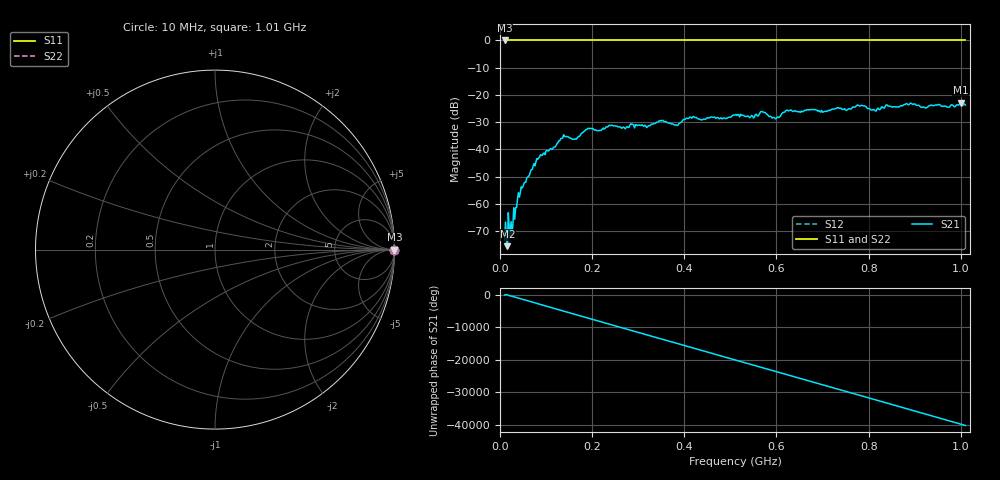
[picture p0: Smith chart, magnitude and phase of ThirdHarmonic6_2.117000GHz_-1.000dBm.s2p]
! 8/17/2025 1:18:52 AM
! C:\ANRITSUVNA\TEMP\TEMP.S2P
! CHANNEL.1
! TR.MEASUREMENT
! RAW.DATA
! RF.CORRECTION.OFF
! AVERAGING.OFF
! IF.BANDWIDTH: 5KHZ
! SWEEPTYPE:  FREQ.SWEEP(Linear)
! Reference Plane Port Info
! PORT:  PORT1  PORT2
! DISTANCE:  0  m  0  m
! TIME:  0  s  0  s
! PHASE.OFFSET:  0  deg.  0  deg.
! LOSS:  0  dB  0  dB
! REF.LOSS:  0  dB  0  dB
! REF.FREQ:  0  Hz  0  Hz
! Power Info
! POWER:  -20  dBm  -20  dBm
! EFF.POWER:  -20  dBm  -20  dBm
! SOURCE.ATTEN:  0  dB  0  dB
! TEST.ATTEN:  0  dB  0  dB
# GHZ S RI R 50.0
! FREQ.GHZ  S11RE  S11IM  S21RE  S21IM  S12RE  S12IM  S22RE  S22IM
!; PortSelection: Port_12
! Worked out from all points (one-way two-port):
!   501 points, 10 MHz to 1.01 GHz, reference 50 ohm
!   highest |S21| = -22.86 dB at 1 GHz (marker M1); lowest = -75.6 dB at 16 MHz (marker M2)
!   lowest |S11| = 0.0 dB at 10 MHz (marker M3)
!   |S11| at or under -10 dB: nowhere
!   |S22| runs from 0.0 to 0.0 dB; largest |S21 - S12| = 1.1
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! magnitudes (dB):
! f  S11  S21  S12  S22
! 10 MHz  0.0  -73.4  0.0  0.0
! 16 MHz  0.0  -75.6  0.0  0.0
! 24 MHz  0.0  -66.5  0.0  0.0
! 42 MHz  0.0  -57.6  0.0  0.0
! 84 MHz  0.0  -43.2  0.0  0.0
! 136 MHz  0.0  -35.9  0.0  0.0
! 162 MHz  0.0  -36.3  0.0  0.0
! 178 MHz  0.0  -34.0  0.0  0.0
! 194 MHz  0.0  -32.4  0.0  0.0
! 322 MHz  0.0  -31.4  0.0  0.0
! 344 MHz  0.0  -29.9  0.0  0.0
! 382 MHz  0.0  -31.0  0.0  0.0
! 416 MHz  0.0  -28.6  0.0  0.0
! 510 MHz  0.0  -27.4  0.0  0.0
! 546 MHz  0.0  -27.5  0.0  0.0
! 570 MHz  0.0  -26.2  0.0  0.0
! 596 MHz  0.0  -28.5  0.0  0.0
! 624 MHz  0.0  -25.6  0.0  0.0
! 678 MHz  0.0  -25.4  0.0  0.0
! 844 MHz  0.0  -24.1  0.0  0.0
! 1 GHz  0.0  -22.9  0.0  0.0
! 1.01 GHz  0.0  -23.7  0.0  0.0
